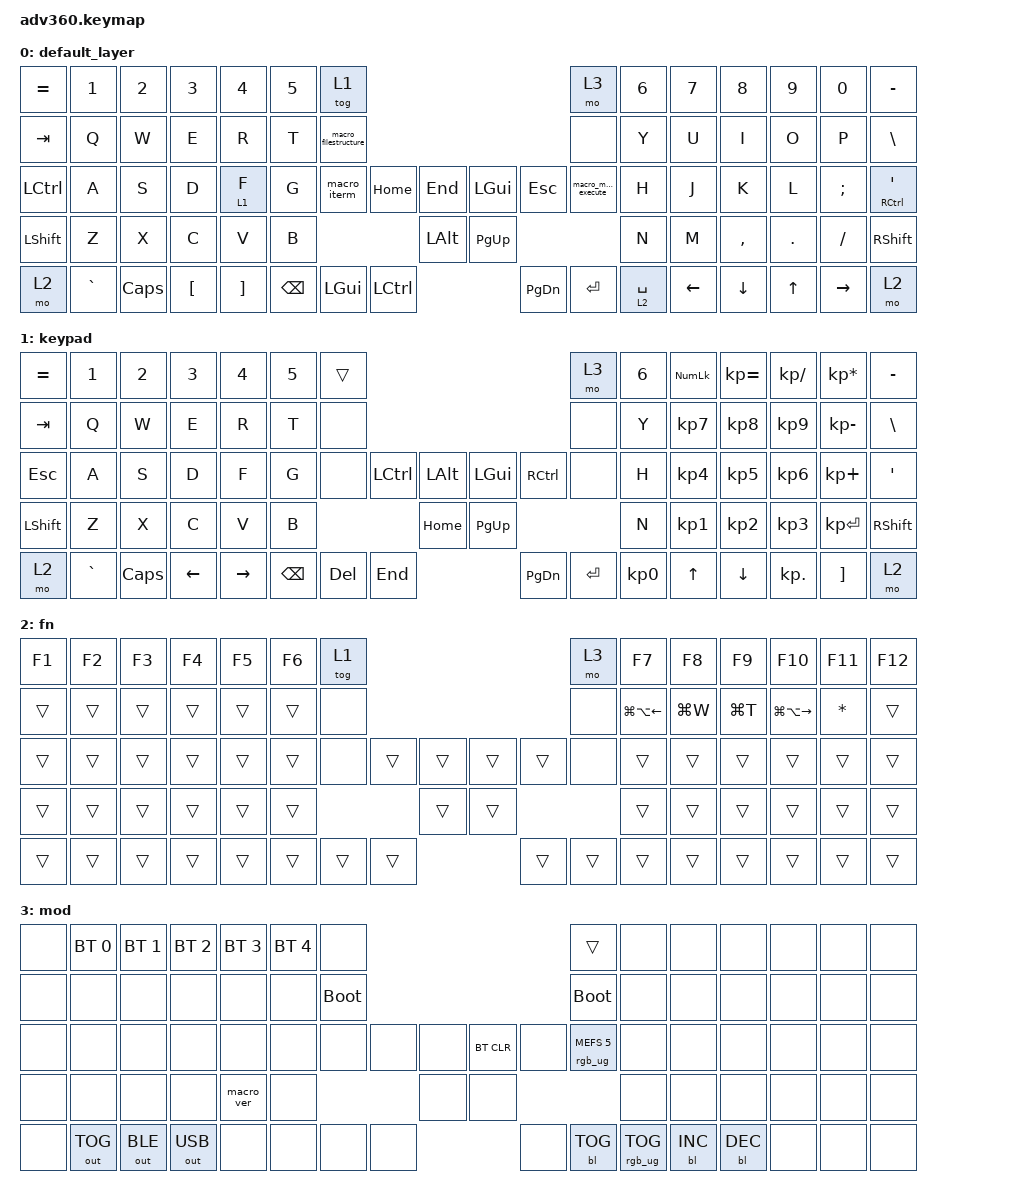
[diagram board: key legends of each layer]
#include <behaviors.dtsi>
#include <dt-bindings/zmk/keys.h>
#include <dt-bindings/zmk/bt.h>
#include <dt-bindings/zmk/rgb.h>
#include <dt-bindings/zmk/backlight.h>
#include <dt-bindings/zmk/outputs.h>

#define HYP(key) LS(LC(LA(LG(key))))
#define HYPER    LS(LC(LA(LGUI)))

#define MACLOCK  LG(LC(Q))

#define BROWSER_SEARCH LG(F)
#define BROWSER_NEWTAB LG(T)
#define BROWSER_CLOSETTAB LG(W)
#define BROWSER_NEXTTAB LG(LA(RIGHT))
#define BROWSER_PREVTAB LG(LA(LEFT))

&mt {
    tapping-term-ms = <210>;
    flavor = "tap-preferred";
};

&lt {
    quick_tap_ms = <200>;
};

/ {
    behaviors {
      #include "macros.dtsi"
      #include "version.dtsi"
      #ifndef VERSION_MACRO
      macro_ver: macro_ver {
        compatible = "zmk,behavior-macro";
        label = "macro_version";
        #binding-cells = <0>;
        bindings = <&kp RET>;
      };
      #endif

      hm: homerow_mods {
          compatible = "zmk,behavior-hold-tap";
          label = "HOMEROW_MODS";
          #binding-cells = <2>;
          tapping-term-ms = <200>;
          quick_tap_ms = <175>;
          flavor = "tap-preferred";
          bindings = <&kp>, <&kp>;
      };
    };

  keymap {
    compatible = "zmk,keymap";

    default_layer {
      bindings = <
        &kp EQUAL &kp N1    &kp N2   &kp N3   &kp N4     &kp N5 &tog 1                                                           &mo 3 &kp N6 &kp N7 &kp N8    &kp N9   &kp N0   &kp MINUS
        &kp TAB   &kp Q     &kp W    &kp E    &kp R      &kp T  &macro_filestructure                                                            &none &kp Y  &kp U  &kp I     &kp O    &kp P    &kp BSLH
        &kp LCTRL   &kp A     &kp S    &kp D    &lt 1 F      &kp G  &macro_iterm           &kp HOME &kp END &kp LGUI  &kp ESC           &macro_meta_execute &kp H  &kp J  &kp K     &kp L    &kp SEMI &mt RCTRL SINGLE_QUOTE
        &kp LSHFT &kp Z     &kp X    &kp C    &kp V      &kp B                            &kp LALT &kp PG_UP                           &kp N  &kp M  &kp COMMA &kp DOT  &kp FSLH &kp RSHFT
        &mo 2     &kp GRAVE &kp CAPS &kp LBKT &kp RBKT                &kp BSPC &kp LGUI   &kp LCTRL  &kp PG_DN &kp ENTER &lt 2 SPACE              &kp LEFT &kp DOWN  &kp UP &kp RIGHT &mo 2
      >;
    };
    keypad {
      bindings = <
        &kp EQUAL &kp N1    &kp N2   &kp N3   &kp N4     &kp N5 &trans                                                           &mo 3 &kp N6 &kp KP_NUM &kp KP_EQUAL &kp KP_DIVIDE &kp KP_MULTIPLY &kp MINUS
        &kp TAB   &kp Q     &kp W    &kp E    &kp R      &kp T  &none                                                            &none &kp Y  &kp KP_N7  &kp KP_N8    &kp KP_N9     &kp KP_MINUS    &kp BSLH
        &kp ESC   &kp A     &kp S    &kp D    &kp F      &kp G  &none           &kp LCTRL &kp LALT &kp LGUI  &kp RCTRL           &none &kp H  &kp KP_N4  &kp KP_N5    &kp KP_N6     &kp KP_PLUS     &kp SQT
        &kp LSHFT &kp Z     &kp X    &kp C    &kp V      &kp B                            &kp HOME &kp PG_UP                           &kp N  &kp KP_N1  &kp KP_N2    &kp KP_N3     &kp KP_ENTER    &kp RSHFT
        &mo 2     &kp GRAVE &kp CAPS &kp LEFT &kp RIGHT                &kp BSPC &kp DEL   &kp END  &kp PG_DN &kp ENTER &kp KP_N0              &kp UP     &kp DOWN     &kp KP_DOT    &kp RBKT        &mo 2
      >;
    };
    fn {
      bindings = <
        &kp F1 &kp F2 &kp F3 &kp F4 &kp F5 &kp F6 &tog 1                                           &mo 3 &kp F7 &kp F8 &kp F9 &kp F10 &kp F11 &kp F12
        &trans &trans &trans &trans &trans &trans  &none                                           &none &kp BROWSER_PREVTAB &kp BROWSER_CLOSETTAB &kp BROWSER_NEWTAB &kp BROWSER_NEXTTAB  &kp ASTERISK  &trans
        &trans &trans &trans &trans &trans &trans  &none        &trans &trans &trans &trans        &none &trans &trans &trans &trans  &trans  &trans
        &trans &trans &trans &trans &trans &trans                      &trans &trans                     &trans &trans &trans &trans  &trans  &trans
        &trans &trans &trans &trans &trans               &trans &trans &trans &trans &trans &trans              &trans &trans &trans  &trans  &trans
      >;
    };
    mod {
      bindings = <
        &none &bt BT_SEL 0 &bt BT_SEL 1 &bt BT_SEL 2 &bt BT_SEL 3 &bt BT_SEL 4 &none                                                                     &trans                 &none        &none        &none        &none &none &none
        &none &none        &none        &none        &none        &none        &bootloader                                                               &bootloader            &none        &none        &none        &none &none &none
        &none &none        &none        &none        &none        &none        &none                   &none &none &bt BT_CLR &none                      &rgb_ug RGB_MEFS_CMD 5 &none        &none        &none        &none &none &none
        &none &none        &none        &none        &macro_ver   &none                                      &none &none                                                        &none        &none        &none        &none &none &none
        &none &out OUT_TOG        &out OUT_BLE        &out OUT_USB        &none                                       &none &none &none &none      &bl BL_TOG &rgb_ug RGB_TOG                                     &bl BL_INC   &bl BL_DEC   &none &none &none
      >;
    };
  };
};
